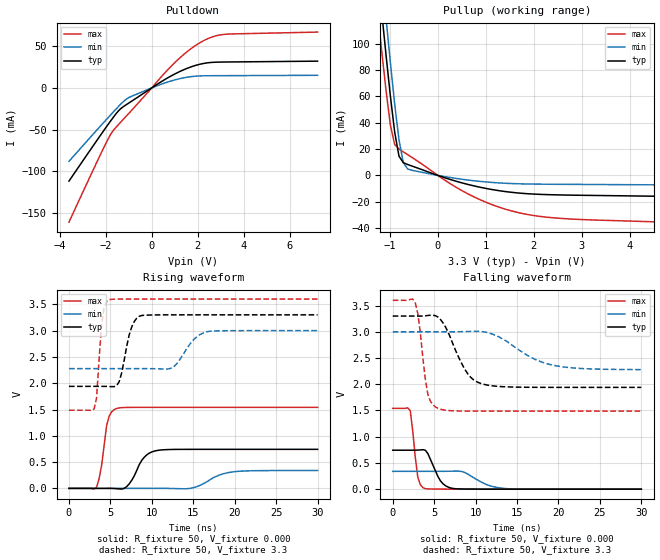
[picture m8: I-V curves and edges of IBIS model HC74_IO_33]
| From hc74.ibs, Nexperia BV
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|   Model HC74_IO_33
[Model]   HC74_IO_33
Model_type   I/O
Polarity   Non-Inverting
Enable   Active-Low
Vinl  =  0.9000V
Vinh  =  2.1000V
Vmeas =  1.65V
Cref  =  5e-11
Rref  =  1e+06
Vref  =  0V
C_comp   1.1666pF   0.8020pF   1.6325pF
[Model Spec]
| Note: The input and output voltage ratings may be exceeded if the input and
|   output current ratings are observed (please refer to the data sheet)
|   Subparameter   typ   min   max
| Timing Thresholds
Vmeas   1.65   1.50   1.80
|Ambient temperature:   25   85   -40
[Temperature Range]   35   95   -30
[Voltage Range]   3.3   3.0   3.6
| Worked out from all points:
|   slope of the pulldown table from 0 to 0.495 V, typ, clamps not added: 56.3 ohm
|   slope of the pullup table from 0 to 0.495 V, typ, clamps not added: 88.4 ohm
|   rising waveform, R_fixture 50, V_fixture 0.000: 20-80 % time 1.55ns typ, 2.54ns min, 823ps max; typ from 0 V to 0.743 V
|   rising waveform, R_fixture 50, V_fixture 3.3: 20-80 % time 1.11ns typ, 1.98ns min, 574ps max; typ from 1.94 V to 3.3 V
|   falling waveform, R_fixture 50, V_fixture 0.000: 20-80 % time 1.34ns typ, 2.46ns min, 644ps max; typ from 0.743 V to 0 V
|   falling waveform, R_fixture 50, V_fixture 3.3: 20-80 % time 2.43ns typ, 4.63ns min, 959ps max; typ from 3.3 V to 1.94 V
|Process Range   nominal   slow   fast
[Pulldown]
|   voltage   I(typ)   I(min)   I(max)
-3.6V     -111.6mA   -87.96mA   -160.8mA
-2.16V    -53.95mA   -43.52mA   -75.67mA
-1.89V    -43.43mA   -35.33mA   -60.7mA
-1.71V    -36.6mA    -29.94mA   -52.27mA
-1.35V    -24.84mA   -19.53mA   -40.97mA
-990mV    -17.97mA   -11.47mA   -30.21mA
720mV     12.45mA    7.248mA    22.47mA
1.62V     24.28mA    13.12mA    45.16mA
2.34V     29.64mA    14.47mA    57.71mA
2.7V      30.62mA    14.55mA    61.62mA
3.06V     30.9mA     14.6mA     63.74mA
7.2V      31.97mA    15.02mA    66.75mA
[Pullup]
|   voltage   I(typ)   I(min)   I(max)
-3.6V     1.077A     1.165A     995mA
-1.26V    157.4mA    190mA      125.6mA
-1.17V    124mA      154.4mA    94.35mA
-1.08V    91.48mA    119.6mA    64.56mA
-990mV    60.5mA     85.91mA    38.36mA
-900mV    32.96mA    54.26mA    23.46mA
-810mV    14.62mA    26.95mA    20.04mA
-720mV    9.675mA    9.729mA    17.87mA
-540mV    7.126mA    3.901mA    13.69mA
720mV     -7.689mA   -3.92mA    -15.72mA
1.89V     -13.96mA   -6.531mA   -29.84mA
7.2V      -17.07mA   -7.711mA   -38.31mA
[Ramp]
| variable   typ   min   max
dV/dt_r  4.4551E-01/1.5484E-09  2.0376E-01/2.5384E-09  9.2441E-01/8.2334E-10
dV/dt_f  4.4551E-01/1.3372E-09  2.0376E-01/2.4646E-09  9.2441E-01/6.4438E-10
R_load = 50
[Rising Waveform]
R_fixture   = 50
V_fixture   = 0.000
V_fixture_min = 0.000
V_fixture_max = 0.000
| time   V(typ)   V(min)   V(max)
0s        4.498pV    895.1pV    208.3fV
3.333ns   -134.2nV   -303.5nV   20.5mV
3.939ns   25.42uV    -297.9nV   436.5mV
4.546ns   109.5uV    -339.1nV   1.196V
5.758ns   -5.384mV   -386.2nV   1.52V
6.97ns    34.31mV    -333.5nV   1.539V
9.091ns   592.6mV    14.73uV    1.541V
10.61ns   719.4mV    107.9uV    1.541V
20ns      742.5mV    317.6mV    1.541V
30ns      742.5mV    339.6mV    1.541V
[Rising Waveform]
R_fixture   = 50
V_fixture   = 3.3
V_fixture_min = 3.0
V_fixture_max = 3.6
| time   V(typ)   V(min)   V(max)
0s        1.94V      2.278V     1.487V
3.03ns    1.94V      2.278V     1.509V
3.333ns   1.94V      2.278V     1.719V
3.939ns   1.94V      2.278V     3.132V
4.849ns   1.938V     2.278V     3.59V
6.061ns   2.03V      2.278V     3.599V
8.485ns   3.273V     2.278V     3.6V
12.42ns   3.3V       2.292V     3.6V
16.67ns   3.3V       2.979V     3.6V
30ns      3.3V       3V         3.6V
[Falling Waveform]
R_fixture   = 50
V_fixture   = 0.000
V_fixture_min = 0.000
V_fixture_max = 0.000
| time   V(typ)   V(min)   V(max)
0s        742.5mV    339.6mV    1.541V
2.121ns   742.2mV    339.6mV    1.495V
3.03ns    744.9mV    339.5mV    226.4mV
3.333ns   747.8mV    339.5mV    85.6mV
3.939ns   741.8mV    339.5mV    9.609mV
5.758ns   159mV      340.1mV    824.6uV
7.273ns   13.41mV    343.1mV    126.2uV
8.485ns   3.577mV    330.6mV    28.47uV
13.33ns   140.7uV    15.81mV    73nV
30ns      2.717nV    11.94uV    208.4fV
[Falling Waveform]
R_fixture   = 50
V_fixture   = 3.3
V_fixture_min = 3.0
V_fixture_max = 3.6
| time   V(typ)   V(min)   V(max)
0s        3.3V       3V         3.6V
2.727ns   3.3V       3V         3.548V
3.03ns    3.3V       3V         3.344V
3.939ns   3.304V     3V         2.088V
4.242ns   3.312V     3V         1.807V
5.455ns   3.281V     3V         1.542V
8.788ns   2.263V     3.005V     1.488V
10.61ns   2.017V     3.005V     1.487V
19.09ns   1.941V     2.373V     1.487V
30ns      1.94V      2.279V     1.487V
